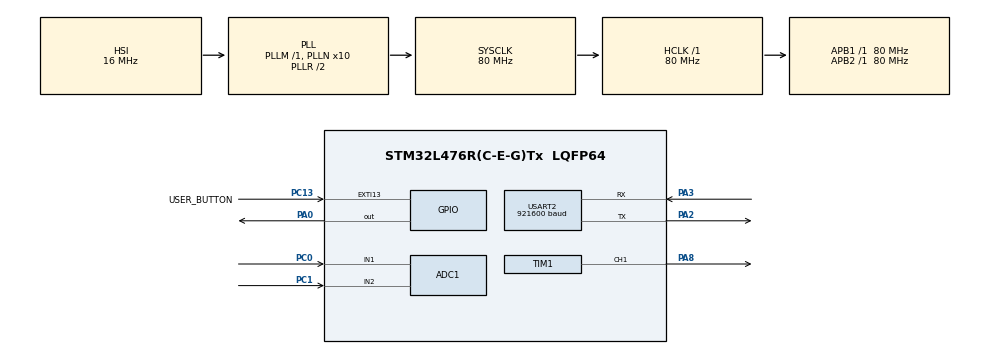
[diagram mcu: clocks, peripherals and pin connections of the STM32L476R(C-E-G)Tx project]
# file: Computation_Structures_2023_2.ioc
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ADC1.Channel-0\#ChannelRegularConversion=ADC_CHANNEL_1
ADC1.Channel-1\#ChannelRegularConversion=ADC_CHANNEL_2
ADC1.ContinuousConvMode=ENABLE
ADC1.EOCSelection=ADC_EOC_SEQ_CONV
ADC1.NbrOfConversion=2
ADC1.NbrOfConversionFlag=1
ADC1.OffsetNumber-0\#ChannelRegularConversion=ADC_OFFSET_NONE
ADC1.OffsetNumber-1\#ChannelRegularConversion=ADC_OFFSET_NONE
ADC1.Rank-0\#ChannelRegularConversion=1
ADC1.Rank-1\#ChannelRegularConversion=2
ADC1.SamplingTime-0\#ChannelRegularConversion=ADC_SAMPLETIME_2CYCLES_5
ADC1.SamplingTime-1\#ChannelRegularConversion=ADC_SAMPLETIME_2CYCLES_5
ADC1.master=1
Dma.ADC1.1.Direction=DMA_PERIPH_TO_MEMORY
Dma.ADC1.1.Instance=DMA1_Channel1
Dma.ADC1.1.MemDataAlignment=DMA_MDATAALIGN_HALFWORD
Dma.ADC1.1.MemInc=DMA_MINC_ENABLE
Dma.ADC1.1.Mode=DMA_NORMAL
Dma.ADC1.1.PeriphDataAlignment=DMA_PDATAALIGN_HALFWORD
Dma.ADC1.1.PeriphInc=DMA_PINC_DISABLE
Dma.ADC1.1.Priority=DMA_PRIORITY_HIGH
Dma.Request0=USART2_TX
Dma.Request1=ADC1
Dma.USART2_TX.0.Direction=DMA_MEMORY_TO_PERIPH
Dma.USART2_TX.0.Instance=DMA1_Channel7
Dma.USART2_TX.0.MemDataAlignment=DMA_MDATAALIGN_BYTE
Dma.USART2_TX.0.MemInc=DMA_MINC_ENABLE
Dma.USART2_TX.0.Mode=DMA_NORMAL
Dma.USART2_TX.0.PeriphDataAlignment=DMA_PDATAALIGN_BYTE
Dma.USART2_TX.0.PeriphInc=DMA_PINC_DISABLE
Dma.USART2_TX.0.Priority=DMA_PRIORITY_MEDIUM
Mcu.Family=STM32L4
Mcu.Name=STM32L476R(C-E-G)Tx
Mcu.Package=LQFP64
NVIC.DMA1_Channel1_IRQn=true\:0\:0\:false\:false\:true\:false\:true\:true
NVIC.DMA1_Channel7_IRQn=true\:0\:0\:false\:false\:true\:false\:true\:true
NVIC.EXTI15_10_IRQn=true\:0\:0\:false\:false\:true\:true\:true\:true
NVIC.PriorityGroup=NVIC_PRIORITYGROUP_4
NVIC.RTC_Alarm_IRQn=true\:0\:0\:false\:false\:true\:true\:true\:true
NVIC.TIM7_IRQn=true\:0\:0\:false\:false\:true\:true\:true\:true
NVIC.USART2_IRQn=true\:0\:0\:false\:false\:true\:true\:true\:true
PA0.Signal=GPIO_Output
PA2.Mode=Asynchronous
PA2.Signal=USART2_TX
PA3.Mode=Asynchronous
PA3.Signal=USART2_RX
PA8.Signal=S_TIM1_CH1
PC0.Signal=ADCx_IN1
PC1.Signal=ADCx_IN2
PC13.GPIO_Label=USER_BUTTON
PC13.Signal=GPXTI13
ProjectManager.HeapSize=0x200
ProjectManager.StackSize=0x400
ProjectManager.TargetToolchain=STM32CubeIDE
RCC.ADCFreq_Value=64000000
RCC.AHBFreq_Value=80000000
RCC.APB1Freq_Value=80000000
RCC.APB1TimFreq_Value=80000000
RCC.APB2Freq_Value=80000000
RCC.APB2TimFreq_Value=80000000
RCC.CortexFreq_Value=80000000
RCC.HCLKFreq_Value=80000000
RCC.HSE_VALUE=8000000
RCC.HSI_VALUE=16000000
RCC.LSE_VALUE=32768
RCC.MSI_VALUE=4000000
RCC.PLLN=10
RCC.PLLSourceVirtual=RCC_PLLSOURCE_HSI
RCC.PREFETCH_ENABLE=1
RCC.SYSCLKFreq_VALUE=80000000
RCC.SYSCLKSource=RCC_SYSCLKSOURCE_PLLCLK
RCC.USBFreq_Value=64000000
RCC.VCOOutputFreq_Value=160000000
RTC.Alarm-Alarm\ A=RTC_ALARM_A
SH.ADCx_IN1.0=ADC1_IN1,IN1-Single-Ended
SH.ADCx_IN2.0=ADC1_IN2,IN2-Single-Ended
SH.S_TIM1_CH1.0=TIM1_CH1,PWM Generation1 CH1
TIM1.Channel-PWM\ Generation1\ CH1=TIM_CHANNEL_1
TIM1.Period=100-1
TIM1.Prescaler=800-1
TIM1.RepetitionCounter=0
TIM7.Period=10000-1
TIM7.Prescaler=8000-1
USART2.BaudRate=921600
USART2.VirtualMode-Asynchronous=VM_ASYNC
VP_RTC_VS_RTC_Activate.Mode=RTC_Enabled
VP_RTC_VS_RTC_Alarm_A_Intern.Mode=Alarm A
VP_RTC_VS_RTC_Calendar.Mode=RTC_Calendar
VP_TIM1_VS_ClockSourceINT.Mode=Internal
VP_TIM7_VS_ClockSourceINT.Mode=Enable_Timer
board=NUCLEO-L476RG

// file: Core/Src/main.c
/* USER CODE BEGIN Header */
/**
  ******************************************************************************
  * @file           : main.c
  * @brief          : Main program body
  ******************************************************************************
  * @attention
  *
  * Copyright (c) 2023 STMicroelectronics.
  * All rights reserved.
  *
  * This software is licensed under terms that can be found in the LICENSE file
  * in the root directory of this software component.
  * If no LICENSE file comes with this software, it is provided AS-IS.
  *
  ******************************************************************************
  */
/* USER CODE END Header */
#include "main.h"

ADC_HandleTypeDef hadc1;
DMA_HandleTypeDef hdma_adc1;

RTC_HandleTypeDef hrtc;

TIM_HandleTypeDef htim1;
TIM_HandleTypeDef htim7;

UART_HandleTypeDef huart2;
DMA_HandleTypeDef hdma_usart2_tx;

/* USER CODE BEGIN PV */
uint8_t tx_busy;
uint8_t Rx_data[10];
uint8_t rx_buffer[4];
uint16_t adc_buffer[32]; /*se declara de 16 bit auque con 12 se llega al valor deseado*/
/* USER CODE END PV */

void SystemClock_Config(void);
static void MX_GPIO_Init(void);
static void MX_DMA_Init(void);
static void MX_USART2_UART_Init(void);
static void MX_TIM7_Init(void);
static void MX_TIM1_Init(void);
static void MX_ADC1_Init(void);
static void MX_RTC_Init(void);

/* USER CODE BEGIN 0 */

int _write(int file,char *ptr, int len)
{
	while (tx_busy != 0)
	{
		/*wait*/
	}
	HAL_UART_Transmit_DMA(&huart2, (uint8_t*)ptr, len);
	tx_busy = 1;
	return len;
}

void HAL_UART_RxCpltCallback(UART_HandleTypeDef *huart)
{
	printf("Received: [%s]\r\n", Rx_data);

	HAL_UART_Receive_IT(&huart2, Rx_data, 4);//restart the interrupt reception mode
}

void HAL_UART_RxHALfCpltCallback(UART_HandleTypeDef *huart)
{
	HAL_GPIO_TogglePin (GPIOA,GPIO_PIN_5);

}
void HAL_UART_TxCpltCallback(UART_HandleTypeDef *huart)
{
	tx_busy = 0;
}

void HAL_TIM_PeriodElapsedCallback(TIM_HandleTypeDef *htim)
{
	static uint32_t counter = 0;

	printf("Counter: %ld\r\n", counter++);
}

void rtc_alarm_config(void)
{
	RTC_DateTypeDef date;
	RTC_TimeTypeDef time;
	RTC_AlarmTypeDef alarm;

	date.Year = 0x23; //BCD (Binary Code Decimal)
	date.Month = RTC_MONTH_OCTOBER;
	date.Date = 0x06;
	date.WeekDay = RTC_WEEKDAY_FRIDAY;
	HAL_RTC_SetDate(&hrtc,&date,RTC_FORMAT_BCD);

	time.Hours = 0x19;
	time.Minutes = 0x10;
	time.Seconds = 0x00;
	time.TimeFormat = RTC_HOURFORMAT_24;

	HAL_RTC_SetTime(&hrtc,&time,RTC_FORMAT_BCD);

	alarm.Alarm = RTC_ALARM_A;
	alarm.AlarmTime.Hours = 0x19;
	alarm.AlarmTime.Minutes = 0x10;
	alarm.AlarmTime.Seconds = 0x10;

	alarm.AlarmTime.TimeFormat = RTC_HOURFORMAT_24;
	alarm.AlarmDateWeekDay = RTC_WEEKDAY_FRIDAY;
	alarm.AlarmDateWeekDaySel = RTC_ALARMDATEWEEKDAYSEL_WEEKDAY;
	alarm.AlarmMask = RTC_ALARMMASK_DATEWEEKDAY;
	HAL_RTC_SetAlarm_IT(&hrtc, &alarm, RTC_FORMAT_BCD);
}

void HAL_RTC_AlarmAEventCallback(RTC_HandleTypeDef *hrtc)
{
	printf("Alarm!!! \r\n");
}
/* USER CODE END 0 */

int main(void)
{

  /* MCU Configuration--------------------------------------------------------*/

  /* Reset of all peripherals, Initializes the Flash interface and the Systick. */
  HAL_Init();

  /* Configure the system clock */
  SystemClock_Config();

  /* Initialize all configured peripherals */
  MX_GPIO_Init();
  MX_DMA_Init();
  MX_USART2_UART_Init();
  MX_TIM7_Init();
  MX_TIM1_Init();
  MX_ADC1_Init();
  MX_RTC_Init();
  /* USER CODE BEGIN 2 */
  HAL_UART_Receive_IT(&huart2, rx_buffer, 4);

  HAL_TIM_Base_Start_IT(&htim7);

  TIM1 ->CCR1 = 50; //to set the compare channel
  HAL_TIM_PWM_Start(&htim1, TIM_CHANNEL_1);

  //The ADC buffer will have the latest values
  HAL_ADC_Start_DMA(&hadc1, adc_buffer, 2);

  /* USER CODE END 2 */

  /* Infinite loop */
  /* USER CODE BEGIN WHILE */
printf("Initial Values: %d, %d \r\n", adc_buffer[0], adc_buffer[1]);
uint16_t adc_counter =0;
uint32_t adding = 0;
rtc_alarm_config();
  while (1)
  {

	  HAL_ADC_Start_DMA(&hadc1,(uint32_t *) &adc_buffer[adding], 2);
	  HAL_Delay(1000);
	  printf("Current Values: %d, %d \r\n", adc_buffer[adding], adc_buffer[adding +1]);
	  adc_counter = adc_buffer[adding] + adc_counter;
	  adding = adding + 2;

	  if (adding >= 31 )
	  {
		  uint32_t prom = (adc_counter/16);
		  printf("Valor promedio: %ld,\r\n", prom);
		  adding = 0;

	  }

    /* USER CODE END WHILE */

    /* USER CODE BEGIN 3 */
	  /*HAL_ADC_Start(&hadc1);
	  HAL_ADC_PollForConversion(&hadc1,10);
	  uint16_t adc_value = HAL_ADC_GetValue(&hadc1);
	  float adc_voltage = ((adc_value/4096.0)*3.3);

	  HAL_ADC_PollForConversion(&hadc1,10);
	  uint16_t adc_value2 = HAL_ADC_GetValue(&hadc1);
	  float adc_voltage2 = ((adc_value2/4096.0)*3.3);
	  printf("ADC Reading: %f, %f\r\n",adc_voltage, adc_voltage2);
	  HAL_Delay(1000);*/
  }

  /* USER CODE END 3 */
}

void SystemClock_Config(void)
{
  RCC_OscInitTypeDef RCC_OscInitStruct = {0};
  RCC_ClkInitTypeDef RCC_ClkInitStruct = {0};

  /** Configure the main internal regulator output voltage
  */
  if (HAL_PWREx_ControlVoltageScaling(PWR_REGULATOR_VOLTAGE_SCALE1) != HAL_OK)
  {
    Error_Handler();
  }

  /** Initializes the RCC Oscillators according to the specified parameters
  * in the RCC_OscInitTypeDef structure.
  */
  RCC_OscInitStruct.OscillatorType = RCC_OSCILLATORTYPE_HSI|RCC_OSCILLATORTYPE_LSI;
  RCC_OscInitStruct.HSIState = RCC_HSI_ON;
  RCC_OscInitStruct.HSICalibrationValue = RCC_HSICALIBRATION_DEFAULT;
  RCC_OscInitStruct.LSIState = RCC_LSI_ON;
  RCC_OscInitStruct.PLL.PLLState = RCC_PLL_ON;
  RCC_OscInitStruct.PLL.PLLSource = RCC_PLLSOURCE_HSI;
  RCC_OscInitStruct.PLL.PLLM = 1;
  RCC_OscInitStruct.PLL.PLLN = 10;
  RCC_OscInitStruct.PLL.PLLP = RCC_PLLP_DIV7;
  RCC_OscInitStruct.PLL.PLLQ = RCC_PLLQ_DIV2;
  RCC_OscInitStruct.PLL.PLLR = RCC_PLLR_DIV2;
  if (HAL_RCC_OscConfig(&RCC_OscInitStruct) != HAL_OK)
  {
    Error_Handler();
  }

  /** Initializes the CPU, AHB and APB buses clocks
  */
  RCC_ClkInitStruct.ClockType = RCC_CLOCKTYPE_HCLK|RCC_CLOCKTYPE_SYSCLK
                              |RCC_CLOCKTYPE_PCLK1|RCC_CLOCKTYPE_PCLK2;
  RCC_ClkInitStruct.SYSCLKSource = RCC_SYSCLKSOURCE_PLLCLK;
  RCC_ClkInitStruct.AHBCLKDivider = RCC_SYSCLK_DIV1;
  RCC_ClkInitStruct.APB1CLKDivider = RCC_HCLK_DIV1;
  RCC_ClkInitStruct.APB2CLKDivider = RCC_HCLK_DIV1;

  if (HAL_RCC_ClockConfig(&RCC_ClkInitStruct, FLASH_LATENCY_4) != HAL_OK)
  {
    Error_Handler();
  }
}

static void MX_ADC1_Init(void)
{

  ADC_MultiModeTypeDef multimode = {0};
  ADC_ChannelConfTypeDef sConfig = {0};

  /** Common config
  */
  hadc1.Instance = ADC1;
  hadc1.Init.ClockPrescaler = ADC_CLOCK_ASYNC_DIV1;
  hadc1.Init.Resolution = ADC_RESOLUTION_12B;
  hadc1.Init.DataAlign = ADC_DATAALIGN_RIGHT;
  hadc1.Init.ScanConvMode = ADC_SCAN_ENABLE;
  hadc1.Init.EOCSelection = ADC_EOC_SEQ_CONV;
  hadc1.Init.LowPowerAutoWait = DISABLE;
  hadc1.Init.ContinuousConvMode = ENABLE;
  hadc1.Init.NbrOfConversion = 2;
  hadc1.Init.DiscontinuousConvMode = DISABLE;
  hadc1.Init.ExternalTrigConv = ADC_SOFTWARE_START;
  hadc1.Init.ExternalTrigConvEdge = ADC_EXTERNALTRIGCONVEDGE_NONE;
  hadc1.Init.DMAContinuousRequests = DISABLE;
  hadc1.Init.Overrun = ADC_OVR_DATA_PRESERVED;
  hadc1.Init.OversamplingMode = DISABLE;
  if (HAL_ADC_Init(&hadc1) != HAL_OK)
  {
    Error_Handler();
  }

  /** Configure the ADC multi-mode
  */
  multimode.Mode = ADC_MODE_INDEPENDENT;
  if (HAL_ADCEx_MultiModeConfigChannel(&hadc1, &multimode) != HAL_OK)
  {
    Error_Handler();
  }

  /** Configure Regular Channel
  */
  sConfig.Channel = ADC_CHANNEL_1;
  sConfig.Rank = ADC_REGULAR_RANK_1;
  sConfig.SamplingTime = ADC_SAMPLETIME_2CYCLES_5;
  sConfig.SingleDiff = ADC_SINGLE_ENDED;
  sConfig.OffsetNumber = ADC_OFFSET_NONE;
  sConfig.Offset = 0;
  if (HAL_ADC_ConfigChannel(&hadc1, &sConfig) != HAL_OK)
  {
    Error_Handler();
  }

  /** Configure Regular Channel
  */
  sConfig.Channel = ADC_CHANNEL_2;
  sConfig.Rank = ADC_REGULAR_RANK_2;
  if (HAL_ADC_ConfigChannel(&hadc1, &sConfig) != HAL_OK)
  {
    Error_Handler();
  }

}

static void MX_RTC_Init(void)
{

  RTC_TimeTypeDef sTime = {0};
  RTC_DateTypeDef sDate = {0};
  RTC_AlarmTypeDef sAlarm = {0};

  /** Initialize RTC Only
  */
  hrtc.Instance = RTC;
  hrtc.Init.HourFormat = RTC_HOURFORMAT_24;
  hrtc.Init.AsynchPrediv = 127;
  hrtc.Init.SynchPrediv = 255;
  hrtc.Init.OutPut = RTC_OUTPUT_DISABLE;
  hrtc.Init.OutPutRemap = RTC_OUTPUT_REMAP_NONE;
  hrtc.Init.OutPutPolarity = RTC_OUTPUT_POLARITY_HIGH;
  hrtc.Init.OutPutType = RTC_OUTPUT_TYPE_OPENDRAIN;
  if (HAL_RTC_Init(&hrtc) != HAL_OK)
  {
    Error_Handler();
  }

  /** Initialize RTC and set the Time and Date
  */
  sTime.Hours = 0x0;
  sTime.Minutes = 0x0;
  sTime.Seconds = 0x0;
  sTime.DayLightSaving = RTC_DAYLIGHTSAVING_NONE;
  sTime.StoreOperation = RTC_STOREOPERATION_RESET;
  if (HAL_RTC_SetTime(&hrtc, &sTime, RTC_FORMAT_BCD) != HAL_OK)
  {
    Error_Handler();
  }
  sDate.WeekDay = RTC_WEEKDAY_MONDAY;
  sDate.Month = RTC_MONTH_JANUARY;
  sDate.Date = 0x1;
  sDate.Year = 0x0;

  if (HAL_RTC_SetDate(&hrtc, &sDate, RTC_FORMAT_BCD) != HAL_OK)
  {
    Error_Handler();
  }

  /** Enable the Alarm A
  */
  sAlarm.AlarmTime.Hours = 0x0;
  sAlarm.AlarmTime.Minutes = 0x0;
  sAlarm.AlarmTime.Seconds = 0x0;
  sAlarm.AlarmTime.SubSeconds = 0x0;
  sAlarm.AlarmTime.DayLightSaving = RTC_DAYLIGHTSAVING_NONE;
  sAlarm.AlarmTime.StoreOperation = RTC_STOREOPERATION_RESET;
  sAlarm.AlarmMask = RTC_ALARMMASK_NONE;
  sAlarm.AlarmSubSecondMask = RTC_ALARMSUBSECONDMASK_ALL;
  sAlarm.AlarmDateWeekDaySel = RTC_ALARMDATEWEEKDAYSEL_DATE;
  sAlarm.AlarmDateWeekDay = 0x1;
  sAlarm.Alarm = RTC_ALARM_A;
  if (HAL_RTC_SetAlarm_IT(&hrtc, &sAlarm, RTC_FORMAT_BCD) != HAL_OK)
  {
    Error_Handler();
  }

}

static void MX_TIM1_Init(void)
{

  TIM_ClockConfigTypeDef sClockSourceConfig = {0};
  TIM_MasterConfigTypeDef sMasterConfig = {0};
  TIM_OC_InitTypeDef sConfigOC = {0};
  TIM_BreakDeadTimeConfigTypeDef sBreakDeadTimeConfig = {0};

  htim1.Instance = TIM1;
  htim1.Init.Prescaler = 800-1;
  htim1.Init.CounterMode = TIM_COUNTERMODE_UP;
  htim1.Init.Period = 100-1;
  htim1.Init.ClockDivision = TIM_CLOCKDIVISION_DIV1;
  htim1.Init.RepetitionCounter = 0;
  htim1.Init.AutoReloadPreload = TIM_AUTORELOAD_PRELOAD_DISABLE;
  if (HAL_TIM_Base_Init(&htim1) != HAL_OK)
  {
    Error_Handler();
  }
  sClockSourceConfig.ClockSource = TIM_CLOCKSOURCE_INTERNAL;
  if (HAL_TIM_ConfigClockSource(&htim1, &sClockSourceConfig) != HAL_OK)
  {
    Error_Handler();
  }
  if (HAL_TIM_PWM_Init(&htim1) != HAL_OK)
  {
    Error_Handler();
  }
  sMasterConfig.MasterOutputTrigger = TIM_TRGO_RESET;
  sMasterConfig.MasterOutputTrigger2 = TIM_TRGO2_RESET;
  sMasterConfig.MasterSlaveMode = TIM_MASTERSLAVEMODE_DISABLE;
  if (HAL_TIMEx_MasterConfigSynchronization(&htim1, &sMasterConfig) != HAL_OK)
  {
    Error_Handler();
  }
  sConfigOC.OCMode = TIM_OCMODE_PWM1;
  sConfigOC.Pulse = 0;
  sConfigOC.OCPolarity = TIM_OCPOLARITY_HIGH;
  sConfigOC.OCNPolarity = TIM_OCNPOLARITY_HIGH;
  sConfigOC.OCFastMode = TIM_OCFAST_DISABLE;
  sConfigOC.OCIdleState = TIM_OCIDLESTATE_RESET;
  sConfigOC.OCNIdleState = TIM_OCNIDLESTATE_RESET;
  if (HAL_TIM_PWM_ConfigChannel(&htim1, &sConfigOC, TIM_CHANNEL_1) != HAL_OK)
  {
    Error_Handler();
  }
  sBreakDeadTimeConfig.OffStateRunMode = TIM_OSSR_DISABLE;
  sBreakDeadTimeConfig.OffStateIDLEMode = TIM_OSSI_DISABLE;
  sBreakDeadTimeConfig.LockLevel = TIM_LOCKLEVEL_OFF;
  sBreakDeadTimeConfig.DeadTime = 0;
  sBreakDeadTimeConfig.BreakState = TIM_BREAK_DISABLE;
  sBreakDeadTimeConfig.BreakPolarity = TIM_BREAKPOLARITY_HIGH;
  sBreakDeadTimeConfig.BreakFilter = 0;
  sBreakDeadTimeConfig.Break2State = TIM_BREAK2_DISABLE;
  sBreakDeadTimeConfig.Break2Polarity = TIM_BREAK2POLARITY_HIGH;
  sBreakDeadTimeConfig.Break2Filter = 0;
  sBreakDeadTimeConfig.AutomaticOutput = TIM_AUTOMATICOUTPUT_DISABLE;
  if (HAL_TIMEx_ConfigBreakDeadTime(&htim1, &sBreakDeadTimeConfig) != HAL_OK)
  {
    Error_Handler();
  }
  HAL_TIM_MspPostInit(&htim1);

}

static void MX_TIM7_Init(void)
{

  TIM_MasterConfigTypeDef sMasterConfig = {0};

  htim7.Instance = TIM7;
  htim7.Init.Prescaler = 8000-1;
  htim7.Init.CounterMode = TIM_COUNTERMODE_UP;
  htim7.Init.Period = 10000-1;
  htim7.Init.AutoReloadPreload = TIM_AUTORELOAD_PRELOAD_DISABLE;
  if (HAL_TIM_Base_Init(&htim7) != HAL_OK)
  {
    Error_Handler();
  }
  sMasterConfig.MasterOutputTrigger = TIM_TRGO_RESET;
  sMasterConfig.MasterSlaveMode = TIM_MASTERSLAVEMODE_DISABLE;
  if (HAL_TIMEx_MasterConfigSynchronization(&htim7, &sMasterConfig) != HAL_OK)
  {
    Error_Handler();
  }

}

static void MX_USART2_UART_Init(void)
{

  huart2.Instance = USART2;
  huart2.Init.BaudRate = 921600;
  huart2.Init.WordLength = UART_WORDLENGTH_8B;
  huart2.Init.StopBits = UART_STOPBITS_1;
  huart2.Init.Parity = UART_PARITY_NONE;
  huart2.Init.Mode = UART_MODE_TX_RX;
  huart2.Init.HwFlowCtl = UART_HWCONTROL_NONE;
  huart2.Init.OverSampling = UART_OVERSAMPLING_16;
  huart2.Init.OneBitSampling = UART_ONE_BIT_SAMPLE_DISABLE;
  huart2.AdvancedInit.AdvFeatureInit = UART_ADVFEATURE_NO_INIT;
  if (HAL_UART_Init(&huart2) != HAL_OK)
  {
    Error_Handler();
  }

}

static void MX_DMA_Init(void)
{

  /* DMA controller clock enable */
  __HAL_RCC_DMA1_CLK_ENABLE();

  /* DMA interrupt init */
  /* DMA1_Channel1_IRQn interrupt configuration */
  HAL_NVIC_SetPriority(DMA1_Channel1_IRQn, 0, 0);
  HAL_NVIC_EnableIRQ(DMA1_Channel1_IRQn);
  /* DMA1_Channel7_IRQn interrupt configuration */
  HAL_NVIC_SetPriority(DMA1_Channel7_IRQn, 0, 0);
  HAL_NVIC_EnableIRQ(DMA1_Channel7_IRQn);

}

static void MX_GPIO_Init(void)
{
  GPIO_InitTypeDef GPIO_InitStruct = {0};

  /* GPIO Ports Clock Enable */
  __HAL_RCC_GPIOC_CLK_ENABLE();
  __HAL_RCC_GPIOA_CLK_ENABLE();

  /*Configure GPIO pin Output Level */
  HAL_GPIO_WritePin(GPIOA, GPIO_PIN_0, GPIO_PIN_RESET);

  /*Configure GPIO pin : USER_BUTTON_Pin */
  GPIO_InitStruct.Pin = USER_BUTTON_Pin;
  GPIO_InitStruct.Mode = GPIO_MODE_IT_RISING;
  GPIO_InitStruct.Pull = GPIO_NOPULL;
  HAL_GPIO_Init(USER_BUTTON_GPIO_Port, &GPIO_InitStruct);

  /*Configure GPIO pin : PA0 */
  GPIO_InitStruct.Pin = GPIO_PIN_0;
  GPIO_InitStruct.Mode = GPIO_MODE_OUTPUT_PP;
  GPIO_InitStruct.Pull = GPIO_NOPULL;
  GPIO_InitStruct.Speed = GPIO_SPEED_FREQ_LOW;
  HAL_GPIO_Init(GPIOA, &GPIO_InitStruct);

  /* EXTI interrupt init*/
  HAL_NVIC_SetPriority(EXTI15_10_IRQn, 0, 0);
  HAL_NVIC_EnableIRQ(EXTI15_10_IRQn);

}

void Error_Handler(void)
{
  __disable_irq();
  while (1)
  {
  }
}
